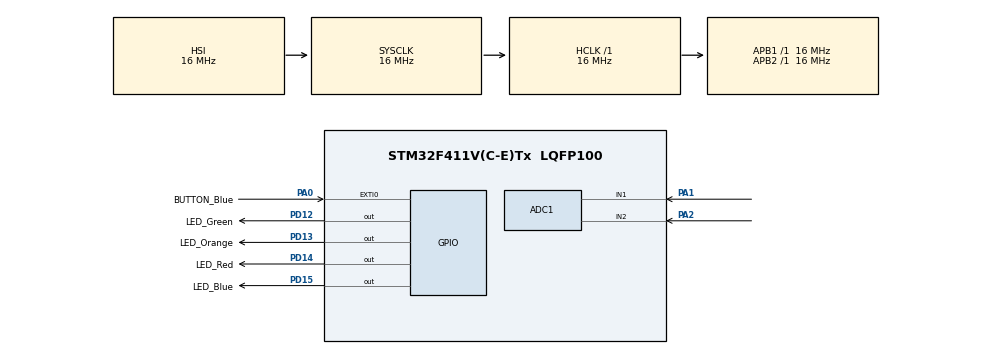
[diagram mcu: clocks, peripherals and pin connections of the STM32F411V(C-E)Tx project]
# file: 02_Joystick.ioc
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ADC1.Channel-0\#ChannelRegularConversion=ADC_CHANNEL_1
ADC1.Channel-1\#ChannelRegularConversion=ADC_CHANNEL_2
ADC1.ClockPrescaler=ADC_CLOCK_SYNC_PCLK_DIV8
ADC1.ContinuousConvMode=ENABLE
ADC1.DMAContinuousRequests=ENABLE
ADC1.NbrOfConversion=2
ADC1.NbrOfConversionFlag=1
ADC1.Rank-0\#ChannelRegularConversion=1
ADC1.Rank-1\#ChannelRegularConversion=2
ADC1.SamplingTime-0\#ChannelRegularConversion=ADC_SAMPLETIME_480CYCLES
ADC1.SamplingTime-1\#ChannelRegularConversion=ADC_SAMPLETIME_480CYCLES
ADC1.ScanConvMode=ENABLE
ADC1.master=1
Dma.ADC1.0.Direction=DMA_PERIPH_TO_MEMORY
Dma.ADC1.0.FIFOMode=DMA_FIFOMODE_DISABLE
Dma.ADC1.0.Instance=DMA2_Stream0
Dma.ADC1.0.MemDataAlignment=DMA_MDATAALIGN_HALFWORD
Dma.ADC1.0.MemInc=DMA_MINC_ENABLE
Dma.ADC1.0.Mode=DMA_CIRCULAR
Dma.ADC1.0.PeriphDataAlignment=DMA_PDATAALIGN_HALFWORD
Dma.ADC1.0.PeriphInc=DMA_PINC_DISABLE
Dma.ADC1.0.Priority=DMA_PRIORITY_LOW
Dma.Request0=ADC1
Mcu.Family=STM32F4
Mcu.Name=STM32F411V(C-E)Tx
Mcu.Package=LQFP100
NVIC.DMA2_Stream0_IRQn=true\:0\:0\:false\:false\:true\:false\:true
NVIC.EXTI0_IRQn=true\:0\:0\:false\:false\:true\:true\:true
NVIC.PriorityGroup=NVIC_PRIORITYGROUP_4
PA0-WKUP.GPIO_Label=BUTTON_Blue
PA0-WKUP.Signal=GPXTI0
PA1.Signal=ADCx_IN1
PA2.Signal=ADCx_IN2
PD12.GPIO_Label=LED_Green
PD12.Signal=GPIO_Output
PD13.GPIO_Label=LED_Orange
PD13.Signal=GPIO_Output
PD14.GPIO_Label=LED_Red
PD14.Signal=GPIO_Output
PD15.GPIO_Label=LED_Blue
PD15.Signal=GPIO_Output
ProjectManager.HeapSize=0x200
ProjectManager.StackSize=0x400
ProjectManager.TargetToolchain=SW4STM32
RCC.AHBFreq_Value=16000000
RCC.APB1Freq_Value=16000000
RCC.APB2Freq_Value=16000000
RCC.CortexFreq_Value=16000000
RCC.HSE_VALUE=25000000
RCC.HSI_VALUE=16000000
RCC.LSE_VALUE=32768
RCC.SYSCLKFreq_VALUE=16000000
RCC.VCOOutputFreq_Value=192000000
SH.ADCx_IN1.0=ADC1_IN1,IN1
SH.ADCx_IN2.0=ADC1_IN2,IN2
board=custom

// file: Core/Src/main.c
/* USER CODE BEGIN Header */
/**
  ******************************************************************************
  * @file           : main.c
  * @brief          : Main program body
  ******************************************************************************
  * @attention
  *
  * <h2><center>&copy; Copyright (c) 2021 STMicroelectronics.
  * All rights reserved.</center></h2>
  *
  * This software component is licensed by ST under BSD 3-Clause license,
  * the "License"; You may not use this file except in compliance with the
  * License. You may obtain a copy of the License at:
  *                        opensource.org/licenses/BSD-3-Clause
  *
  ******************************************************************************
  */
/* USER CODE END Header */
#include "main.h"

ADC_HandleTypeDef hadc1;
DMA_HandleTypeDef hdma_adc1;

/* USER CODE BEGIN PV */
uint16_t joystick[2];
uint16_t reverseJoystick;
/* USER CODE END PV */

void SystemClock_Config(void);
static void MX_GPIO_Init(void);
static void MX_DMA_Init(void);
static void MX_ADC1_Init(void);
/* USER CODE BEGIN PFP */

void HAL_GPIO_EXTI_Callback(uint16_t GPIO_Pin){
	//Reverse Joystick
	if (GPIO_Pin == BUTTON_Blue_Pin)
		reverseJoystick = reverseJoystick * -1;
}

/* USER CODE END PFP */

int main(void)
{

  /* MCU Configuration--------------------------------------------------------*/

  /* Reset of all peripherals, Initializes the Flash interface and the Systick. */
  HAL_Init();

  /* Configure the system clock */
  SystemClock_Config();

  /* Initialize all configured peripherals */
  MX_GPIO_Init();
  MX_DMA_Init();
  MX_ADC1_Init();
  /* USER CODE BEGIN 2 */
  reverseJoystick = 1;
HAL_ADC_Start_DMA(&hadc1, joystick, 2);

  /* USER CODE END 2 */

  /* Infinite loop */
  /* USER CODE BEGIN WHILE */
  while (1)
  {
	  int x = (200 * joystick[1] / 4095 - 100); // -100 most right, 0 center, 100 most left
	  int y = (200 * joystick[0] / 4095 - 100); // -100 most up, 0 center, 100 most down

	  if (reverseJoystick == 1){
		  x = x * -1;
		  y = y * -1;
	  }

	  if (x < -75) HAL_GPIO_WritePin(LED_Red_GPIO_Port, LED_Red_Pin, GPIO_PIN_SET);
	  else HAL_GPIO_WritePin(LED_Red_GPIO_Port, LED_Red_Pin, GPIO_PIN_RESET);

	  if (x > 75) HAL_GPIO_WritePin(LED_Green_GPIO_Port, LED_Green_Pin, GPIO_PIN_SET);
	  else HAL_GPIO_WritePin(LED_Green_GPIO_Port, LED_Green_Pin, GPIO_PIN_RESET);

	  if (y < -75) HAL_GPIO_WritePin(LED_Orange_GPIO_Port, LED_Orange_Pin, GPIO_PIN_SET);
	  else HAL_GPIO_WritePin(LED_Orange_GPIO_Port, LED_Orange_Pin, GPIO_PIN_RESET);

	  if (y > 75) HAL_GPIO_WritePin(LED_Blue_GPIO_Port, LED_Blue_Pin, GPIO_PIN_SET);
	  else HAL_GPIO_WritePin(LED_Blue_GPIO_Port, LED_Blue_Pin, GPIO_PIN_RESET);

    /* USER CODE END WHILE */

  }
}

void SystemClock_Config(void)
{
  RCC_OscInitTypeDef RCC_OscInitStruct = {0};
  RCC_ClkInitTypeDef RCC_ClkInitStruct = {0};

  /** Configure the main internal regulator output voltage
  */
  __HAL_RCC_PWR_CLK_ENABLE();
  __HAL_PWR_VOLTAGESCALING_CONFIG(PWR_REGULATOR_VOLTAGE_SCALE1);
  /** Initializes the RCC Oscillators according to the specified parameters
  * in the RCC_OscInitTypeDef structure.
  */
  RCC_OscInitStruct.OscillatorType = RCC_OSCILLATORTYPE_HSI;
  RCC_OscInitStruct.HSIState = RCC_HSI_ON;
  RCC_OscInitStruct.HSICalibrationValue = RCC_HSICALIBRATION_DEFAULT;
  RCC_OscInitStruct.PLL.PLLState = RCC_PLL_NONE;
  if (HAL_RCC_OscConfig(&RCC_OscInitStruct) != HAL_OK)
  {
    Error_Handler();
  }
  /** Initializes the CPU, AHB and APB buses clocks
  */
  RCC_ClkInitStruct.ClockType = RCC_CLOCKTYPE_HCLK|RCC_CLOCKTYPE_SYSCLK
                              |RCC_CLOCKTYPE_PCLK1|RCC_CLOCKTYPE_PCLK2;
  RCC_ClkInitStruct.SYSCLKSource = RCC_SYSCLKSOURCE_HSI;
  RCC_ClkInitStruct.AHBCLKDivider = RCC_SYSCLK_DIV1;
  RCC_ClkInitStruct.APB1CLKDivider = RCC_HCLK_DIV1;
  RCC_ClkInitStruct.APB2CLKDivider = RCC_HCLK_DIV1;

  if (HAL_RCC_ClockConfig(&RCC_ClkInitStruct, FLASH_LATENCY_0) != HAL_OK)
  {
    Error_Handler();
  }
}

static void MX_ADC1_Init(void)
{

  ADC_ChannelConfTypeDef sConfig = {0};

  /** Configure the global features of the ADC (Clock, Resolution, Data Alignment and number of conversion)
  */
  hadc1.Instance = ADC1;
  hadc1.Init.ClockPrescaler = ADC_CLOCK_SYNC_PCLK_DIV8;
  hadc1.Init.Resolution = ADC_RESOLUTION_12B;
  hadc1.Init.ScanConvMode = ENABLE;
  hadc1.Init.ContinuousConvMode = ENABLE;
  hadc1.Init.DiscontinuousConvMode = DISABLE;
  hadc1.Init.ExternalTrigConvEdge = ADC_EXTERNALTRIGCONVEDGE_NONE;
  hadc1.Init.ExternalTrigConv = ADC_SOFTWARE_START;
  hadc1.Init.DataAlign = ADC_DATAALIGN_RIGHT;
  hadc1.Init.NbrOfConversion = 2;
  hadc1.Init.DMAContinuousRequests = ENABLE;
  hadc1.Init.EOCSelection = ADC_EOC_SINGLE_CONV;
  if (HAL_ADC_Init(&hadc1) != HAL_OK)
  {
    Error_Handler();
  }
  /** Configure for the selected ADC regular channel its corresponding rank in the sequencer and its sample time.
  */
  sConfig.Channel = ADC_CHANNEL_1;
  sConfig.Rank = 1;
  sConfig.SamplingTime = ADC_SAMPLETIME_480CYCLES;
  if (HAL_ADC_ConfigChannel(&hadc1, &sConfig) != HAL_OK)
  {
    Error_Handler();
  }
  /** Configure for the selected ADC regular channel its corresponding rank in the sequencer and its sample time.
  */
  sConfig.Channel = ADC_CHANNEL_2;
  sConfig.Rank = 2;
  if (HAL_ADC_ConfigChannel(&hadc1, &sConfig) != HAL_OK)
  {
    Error_Handler();
  }

}

static void MX_DMA_Init(void)
{

  /* DMA controller clock enable */
  __HAL_RCC_DMA2_CLK_ENABLE();

  /* DMA interrupt init */
  /* DMA2_Stream0_IRQn interrupt configuration */
  HAL_NVIC_SetPriority(DMA2_Stream0_IRQn, 0, 0);
  HAL_NVIC_EnableIRQ(DMA2_Stream0_IRQn);

}

static void MX_GPIO_Init(void)
{
  GPIO_InitTypeDef GPIO_InitStruct = {0};

  /* GPIO Ports Clock Enable */
  __HAL_RCC_GPIOA_CLK_ENABLE();
  __HAL_RCC_GPIOD_CLK_ENABLE();

  /*Configure GPIO pin Output Level */
  HAL_GPIO_WritePin(GPIOD, LED_Green_Pin|LED_Orange_Pin|LED_Red_Pin|LED_Blue_Pin, GPIO_PIN_RESET);

  /*Configure GPIO pin : BUTTON_Blue_Pin */
  GPIO_InitStruct.Pin = BUTTON_Blue_Pin;
  GPIO_InitStruct.Mode = GPIO_MODE_IT_RISING;
  GPIO_InitStruct.Pull = GPIO_NOPULL;
  HAL_GPIO_Init(BUTTON_Blue_GPIO_Port, &GPIO_InitStruct);

  /*Configure GPIO pins : LED_Green_Pin LED_Orange_Pin LED_Red_Pin LED_Blue_Pin */
  GPIO_InitStruct.Pin = LED_Green_Pin|LED_Orange_Pin|LED_Red_Pin|LED_Blue_Pin;
  GPIO_InitStruct.Mode = GPIO_MODE_OUTPUT_PP;
  GPIO_InitStruct.Pull = GPIO_NOPULL;
  GPIO_InitStruct.Speed = GPIO_SPEED_FREQ_LOW;
  HAL_GPIO_Init(GPIOD, &GPIO_InitStruct);

  /* EXTI interrupt init*/
  HAL_NVIC_SetPriority(EXTI0_IRQn, 0, 0);
  HAL_NVIC_EnableIRQ(EXTI0_IRQn);

}

void Error_Handler(void)
{
  __disable_irq();
  while (1)
  {
  }
}

/************************ (C) COPYRIGHT STMicroelectronics *****END OF FILE****/
